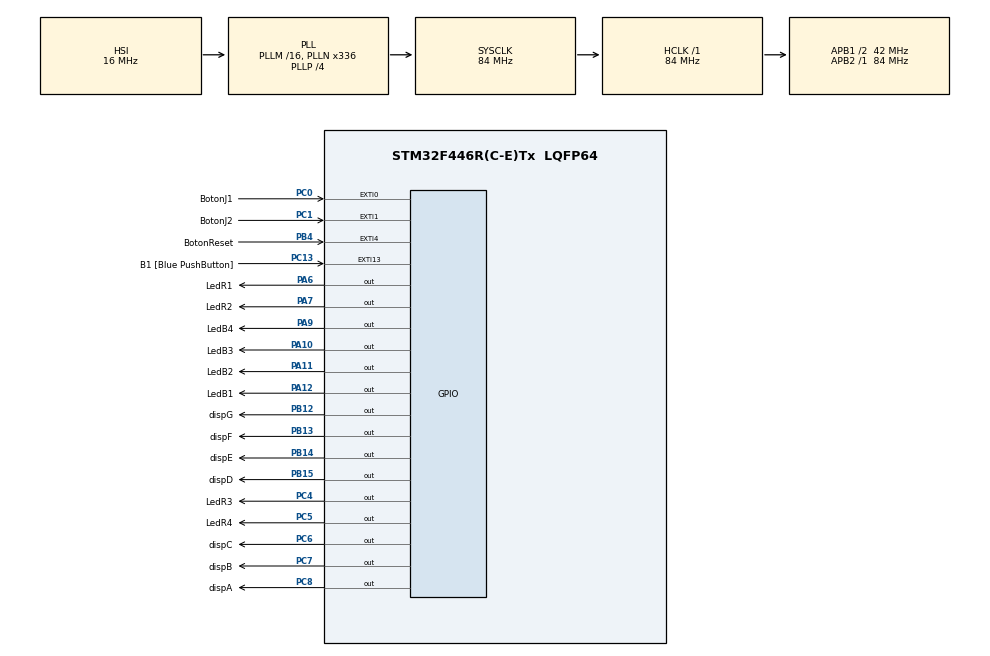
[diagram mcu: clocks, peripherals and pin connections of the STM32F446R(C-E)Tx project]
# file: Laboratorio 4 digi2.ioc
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Mcu.Family=STM32F4
Mcu.Name=STM32F446R(C-E)Tx
Mcu.Package=LQFP64
NVIC.EXTI0_IRQn=true\:0\:0\:false\:false\:true\:true\:true\:true
NVIC.EXTI1_IRQn=true\:0\:0\:false\:false\:true\:true\:true\:true
NVIC.EXTI4_IRQn=true\:0\:0\:false\:false\:true\:true\:true\:true
NVIC.PriorityGroup=NVIC_PRIORITYGROUP_0
PA10.GPIO_Label=LedB3
PA10.Signal=GPIO_Output
PA11.GPIO_Label=LedB2
PA11.Signal=GPIO_Output
PA12.GPIO_Label=LedB1
PA12.Signal=GPIO_Output
PA13.GPIO_Label=TMS
PA13.Signal=SYS_JTMS-SWDIO
PA14.GPIO_Label=TCK
PA14.Signal=SYS_JTCK-SWCLK
PA2.GPIO_Label=USART_TX
PA2.Signal=USART2_TX
PA3.GPIO_Label=USART_RX
PA3.Signal=USART2_RX
PA6.GPIO_Label=LedR1
PA6.Signal=GPIO_Output
PA7.GPIO_Label=LedR2
PA7.Signal=GPIO_Output
PA9.GPIO_Label=LedB4
PA9.Signal=GPIO_Output
PB12.GPIO_Label=dispG
PB12.Signal=GPIO_Output
PB13.GPIO_Label=dispF
PB13.Signal=GPIO_Output
PB14.GPIO_Label=dispE
PB14.Signal=GPIO_Output
PB15.GPIO_Label=dispD
PB15.Signal=GPIO_Output
PB3.GPIO_Label=SWO
PB3.Signal=SYS_JTDO-SWO
PB4.GPIO_Label=BotonReset
PB4.GPIO_ModeDefaultEXTI=GPIO_MODE_IT_FALLING
PB4.GPIO_PuPd=GPIO_PULLUP
PB4.Signal=GPXTI4
PC0.GPIO_Label=BotonJ1
PC0.GPIO_ModeDefaultEXTI=GPIO_MODE_IT_FALLING
PC0.GPIO_PuPd=GPIO_PULLUP
PC0.Signal=GPXTI0
PC1.GPIO_Label=BotonJ2
PC1.GPIO_ModeDefaultEXTI=GPIO_MODE_IT_FALLING
PC1.GPIO_PuPd=GPIO_PULLUP
PC1.Signal=GPXTI1
PC13.GPIO_Label=B1 [Blue PushButton]
PC13.GPIO_ModeDefaultEXTI=GPIO_MODE_IT_FALLING
PC13.Signal=GPXTI13
PC14-OSC32_IN.Signal=RCC_OSC32_IN
PC15-OSC32_OUT.Signal=RCC_OSC32_OUT
PC4.GPIO_Label=LedR3
PC4.Signal=GPIO_Output
PC5.GPIO_Label=LedR4
PC5.Signal=GPIO_Output
PC6.GPIO_Label=dispC
PC6.Signal=GPIO_Output
PC7.GPIO_Label=dispB
PC7.Signal=GPIO_Output
PC8.GPIO_Label=dispA
PC8.Signal=GPIO_Output
PH0-OSC_IN.Signal=RCC_OSC_IN
PH1-OSC_OUT.Signal=RCC_OSC_OUT
ProjectManager.HeapSize=0x200
ProjectManager.StackSize=0x400
ProjectManager.TargetToolchain=STM32CubeIDE
RCC.AHBFreq_Value=84000000
RCC.APB1CLKDivider=RCC_HCLK_DIV2
RCC.APB1Freq_Value=42000000
RCC.APB1TimFreq_Value=84000000
RCC.APB2Freq_Value=84000000
RCC.APB2TimFreq_Value=84000000
RCC.CortexFreq_Value=84000000
RCC.FLatency-AdvancedSettings=FLASH_LATENCY_2
RCC.HCLKFreq_Value=84000000
RCC.HSE_VALUE=8000000
RCC.HSI_VALUE=16000000
RCC.LSE_VALUE=32768
RCC.PLLN=336
RCC.PLLP=RCC_PLLP_DIV4
RCC.SYSCLKFreq_VALUE=84000000
RCC.SYSCLKSource=RCC_SYSCLKSOURCE_PLLCLK
RCC.USBFreq_Value=168000000
RCC.VCOOutputFreq_Value=336000000
board=NUCLEO-F446RE

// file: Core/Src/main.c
/* USER CODE BEGIN Header */
/**
  ******************************************************************************
  * @file           : main.c
  * @brief          : Main program body
  ******************************************************************************
  * @attention
  *
  * Copyright (c) 2026 STMicroelectronics.
  * All rights reserved.
  *
  * This software is licensed under terms that can be found in the LICENSE file
  * in the root directory of this software component.
  * If no LICENSE file comes with this software, it is provided AS-IS.
  *
  ******************************************************************************
  */
/* USER CODE END Header */
#include "main.h"

/* USER CODE BEGIN PV */
volatile uint8_t modo = 0;         // 0: Espera, 1: Juego, 3: Ganador
volatile uint8_t contadorJ1 = 0;   // 0 a 4
volatile uint8_t contadorJ2 = 0;   // 0 a 4
volatile uint8_t ganador = 0;      // 1 para Jugador 1, 2 para Jugador 2
volatile uint8_t flagReset = 0;    // Bandera para procesar el reset en el main
/* USER CODE END PV */

void SystemClock_Config(void);
static void MX_GPIO_Init(void);
/* USER CODE BEGIN PFP */
void ActualizarLeds(void);
void ResetearJuego(void);
void MostrarDisplay(uint8_t numero);
void IniciarCuentaRegresiva(void);
/* USER CODE END PFP */

int main(void)
{

  /* MCU Configuration--------------------------------------------------------*/

  /* Reset of all peripherals, Initializes the Flash interface and the Systick. */
  HAL_Init();

  /* Configure the system clock */
  SystemClock_Config();

  /* Initialize all configured peripherals */
  MX_GPIO_Init();

  /* Infinite loop */
  /* USER CODE BEGIN WHILE */
  while (1)
    {
      if (flagReset == 1)
      {
        flagReset = 0;      // Limpiar la bandera
        ResetearJuego();    // Ejecuta la cuenta regresiva con HAL_Delay libremente
        modo = 1;           // Inicia el juego tras finalizar el conteo
      }

      ActualizarLeds();
    /* USER CODE END WHILE */

  }
}

void SystemClock_Config(void)
{
  RCC_OscInitTypeDef RCC_OscInitStruct = {0};
  RCC_ClkInitTypeDef RCC_ClkInitStruct = {0};

  /** Configure the main internal regulator output voltage
  */
  __HAL_RCC_PWR_CLK_ENABLE();
  __HAL_PWR_VOLTAGESCALING_CONFIG(PWR_REGULATOR_VOLTAGE_SCALE3);

  /** Initializes the RCC Oscillators according to the specified parameters
  * in the RCC_OscInitTypeDef structure.
  */
  RCC_OscInitStruct.OscillatorType = RCC_OSCILLATORTYPE_HSI;
  RCC_OscInitStruct.HSIState = RCC_HSI_ON;
  RCC_OscInitStruct.HSICalibrationValue = RCC_HSICALIBRATION_DEFAULT;
  RCC_OscInitStruct.PLL.PLLState = RCC_PLL_ON;
  RCC_OscInitStruct.PLL.PLLSource = RCC_PLLSOURCE_HSI;
  RCC_OscInitStruct.PLL.PLLM = 16;
  RCC_OscInitStruct.PLL.PLLN = 336;
  RCC_OscInitStruct.PLL.PLLP = RCC_PLLP_DIV4;
  RCC_OscInitStruct.PLL.PLLQ = 2;
  RCC_OscInitStruct.PLL.PLLR = 2;
  if (HAL_RCC_OscConfig(&RCC_OscInitStruct) != HAL_OK)
  {
    Error_Handler();
  }

  /** Initializes the CPU, AHB and APB buses clocks
  */
  RCC_ClkInitStruct.ClockType = RCC_CLOCKTYPE_HCLK|RCC_CLOCKTYPE_SYSCLK
                              |RCC_CLOCKTYPE_PCLK1|RCC_CLOCKTYPE_PCLK2;
  RCC_ClkInitStruct.SYSCLKSource = RCC_SYSCLKSOURCE_PLLCLK;
  RCC_ClkInitStruct.AHBCLKDivider = RCC_SYSCLK_DIV1;
  RCC_ClkInitStruct.APB1CLKDivider = RCC_HCLK_DIV2;
  RCC_ClkInitStruct.APB2CLKDivider = RCC_HCLK_DIV1;

  if (HAL_RCC_ClockConfig(&RCC_ClkInitStruct, FLASH_LATENCY_2) != HAL_OK)
  {
    Error_Handler();
  }
}

static void MX_GPIO_Init(void)
{
  GPIO_InitTypeDef GPIO_InitStruct = {0};

  /* GPIO Ports Clock Enable */
  __HAL_RCC_GPIOC_CLK_ENABLE();
  __HAL_RCC_GPIOH_CLK_ENABLE();
  __HAL_RCC_GPIOA_CLK_ENABLE();
  __HAL_RCC_GPIOB_CLK_ENABLE();

  /*Configure GPIO pin Output Level */
  HAL_GPIO_WritePin(GPIOA, LedR1_Pin|LedR2_Pin|LedB4_Pin|LedB3_Pin
                          |LedB2_Pin|LedB1_Pin, GPIO_PIN_RESET);

  /*Configure GPIO pin Output Level */
  HAL_GPIO_WritePin(GPIOC, LedR3_Pin|LedR4_Pin|dispC_Pin|dispB_Pin
                          |dispA_Pin, GPIO_PIN_RESET);

  /*Configure GPIO pin Output Level */
  HAL_GPIO_WritePin(GPIOB, dispG_Pin|dispF_Pin|dispE_Pin|dispD_Pin, GPIO_PIN_RESET);

  /*Configure GPIO pin : B1_Pin */
  GPIO_InitStruct.Pin = B1_Pin;
  GPIO_InitStruct.Mode = GPIO_MODE_IT_FALLING;
  GPIO_InitStruct.Pull = GPIO_NOPULL;
  HAL_GPIO_Init(B1_GPIO_Port, &GPIO_InitStruct);

  /*Configure GPIO pins : BotonJ1_Pin BotonJ2_Pin */
  GPIO_InitStruct.Pin = BotonJ1_Pin|BotonJ2_Pin;
  GPIO_InitStruct.Mode = GPIO_MODE_IT_FALLING;
  GPIO_InitStruct.Pull = GPIO_PULLUP;
  HAL_GPIO_Init(GPIOC, &GPIO_InitStruct);

  /*Configure GPIO pins : USART_TX_Pin USART_RX_Pin */
  GPIO_InitStruct.Pin = USART_TX_Pin|USART_RX_Pin;
  GPIO_InitStruct.Mode = GPIO_MODE_AF_PP;
  GPIO_InitStruct.Pull = GPIO_NOPULL;
  GPIO_InitStruct.Speed = GPIO_SPEED_FREQ_VERY_HIGH;
  GPIO_InitStruct.Alternate = GPIO_AF7_USART2;
  HAL_GPIO_Init(GPIOA, &GPIO_InitStruct);

  /*Configure GPIO pins : LedR1_Pin LedR2_Pin LedB4_Pin LedB3_Pin
                           LedB2_Pin LedB1_Pin */
  GPIO_InitStruct.Pin = LedR1_Pin|LedR2_Pin|LedB4_Pin|LedB3_Pin
                          |LedB2_Pin|LedB1_Pin;
  GPIO_InitStruct.Mode = GPIO_MODE_OUTPUT_PP;
  GPIO_InitStruct.Pull = GPIO_NOPULL;
  GPIO_InitStruct.Speed = GPIO_SPEED_FREQ_LOW;
  HAL_GPIO_Init(GPIOA, &GPIO_InitStruct);

  /*Configure GPIO pins : LedR3_Pin LedR4_Pin dispC_Pin dispB_Pin
                           dispA_Pin */
  GPIO_InitStruct.Pin = LedR3_Pin|LedR4_Pin|dispC_Pin|dispB_Pin
                          |dispA_Pin;
  GPIO_InitStruct.Mode = GPIO_MODE_OUTPUT_PP;
  GPIO_InitStruct.Pull = GPIO_NOPULL;
  GPIO_InitStruct.Speed = GPIO_SPEED_FREQ_LOW;
  HAL_GPIO_Init(GPIOC, &GPIO_InitStruct);

  /*Configure GPIO pins : dispG_Pin dispF_Pin dispE_Pin dispD_Pin */
  GPIO_InitStruct.Pin = dispG_Pin|dispF_Pin|dispE_Pin|dispD_Pin;
  GPIO_InitStruct.Mode = GPIO_MODE_OUTPUT_PP;
  GPIO_InitStruct.Pull = GPIO_NOPULL;
  GPIO_InitStruct.Speed = GPIO_SPEED_FREQ_LOW;
  HAL_GPIO_Init(GPIOB, &GPIO_InitStruct);

  /*Configure GPIO pin : BotonReset_Pin */
  GPIO_InitStruct.Pin = BotonReset_Pin;
  GPIO_InitStruct.Mode = GPIO_MODE_IT_FALLING;
  GPIO_InitStruct.Pull = GPIO_PULLUP;
  HAL_GPIO_Init(BotonReset_GPIO_Port, &GPIO_InitStruct);

  /* EXTI interrupt init*/
  HAL_NVIC_SetPriority(EXTI0_IRQn, 0, 0);
  HAL_NVIC_EnableIRQ(EXTI0_IRQn);

  HAL_NVIC_SetPriority(EXTI1_IRQn, 0, 0);
  HAL_NVIC_EnableIRQ(EXTI1_IRQn);

  HAL_NVIC_SetPriority(EXTI4_IRQn, 0, 0);
  HAL_NVIC_EnableIRQ(EXTI4_IRQn);

}

/* USER CODE BEGIN 4 */
void HAL_GPIO_EXTI_Callback(uint16_t GPIO_Pin)
{
  // Interrupción del Botón Reset / Inicio (PB4)
  if (GPIO_Pin == BotonReset_Pin)
  {
    if (modo == 0 || modo == 3)
    {
      flagReset = 1; // Levanta la bandera para atender la secuencia en el main()
    }
  }

  // Interrupción del Botón Jugador 1 (PC0)
  else if (GPIO_Pin == BotonJ1_Pin)
  {
    if (modo == 1)
    {
      if (contadorJ1 < 4)
      {
        contadorJ1++;
        if (contadorJ1 == 4)
        {
          ganador = 1; // Gana Jugador 1
          modo = 3;    // Bloquea botones
        }
      }
    }
  }

  // Interrupción del Botón Jugador 2 (PC1)
  else if (GPIO_Pin == BotonJ2_Pin)
  {
    if (modo == 1)
    {
      if (contadorJ2 < 4)
      {
        contadorJ2++;
        if (contadorJ2 == 4)
        {
          ganador = 2; // Gana Jugador 2
          modo = 3;    // Bloquea botones
        }
      }
    }
  }
}

void ResetearJuego(void)
{
  modo = 0;          // Mantiene botones bloqueados durante el conteo
  contadorJ1 = 0;
  contadorJ2 = 0;
  ganador = 0;
  ActualizarLeds();  // Asegura LEDs apagados

  IniciarCuentaRegresiva(); // Conteo 5 a 0 con HAL_Delay() funcional
}

void IniciarCuentaRegresiva(void)
{
  for (int i = 5; i > 0; i--)
  {
    MostrarDisplay(i);
    HAL_Delay(1000); // Ya no se congela porque estamos fuera de la ISR
  }
  MostrarDisplay(99);  // Apaga el display al terminar
}

void ActualizarLeds(void)
{
  // Si está en modo 0 (conteo o espera), los LEDs deben permanecer apagados
  if (modo == 0)
  {
    HAL_GPIO_WritePin(GPIOA, LedR1_Pin|LedR2_Pin|LedB1_Pin|LedB2_Pin|LedB3_Pin|LedB4_Pin, GPIO_PIN_RESET);
    HAL_GPIO_WritePin(GPIOC, LedR3_Pin|LedR4_Pin, GPIO_PIN_RESET);
    return;
  }

  // --- Mapeo de LEDs para Jugador 1 (PA6, PA7, PC4, PC5) ---
  HAL_GPIO_WritePin(GPIOA, LedR1_Pin, (contadorJ1 >= 1) ? GPIO_PIN_SET : GPIO_PIN_RESET);
  HAL_GPIO_WritePin(GPIOA, LedR2_Pin, (contadorJ1 >= 2) ? GPIO_PIN_SET : GPIO_PIN_RESET);
  HAL_GPIO_WritePin(GPIOC, LedR3_Pin, (contadorJ1 >= 3) ? GPIO_PIN_SET : GPIO_PIN_RESET);
  HAL_GPIO_WritePin(GPIOC, LedR4_Pin, (contadorJ1 >= 4) ? GPIO_PIN_SET : GPIO_PIN_RESET);

  // --- Mapeo de LEDs para Jugador 2 (PA12, PA11, PA10, PA9) ---
  HAL_GPIO_WritePin(GPIOA, LedB1_Pin, (contadorJ2 >= 1) ? GPIO_PIN_SET : GPIO_PIN_RESET);
  HAL_GPIO_WritePin(GPIOA, LedB2_Pin, (contadorJ2 >= 2) ? GPIO_PIN_SET : GPIO_PIN_RESET);
  HAL_GPIO_WritePin(GPIOA, LedB3_Pin, (contadorJ2 >= 3) ? GPIO_PIN_SET : GPIO_PIN_RESET);
  HAL_GPIO_WritePin(GPIOA, LedB4_Pin, (contadorJ2 >= 4) ? GPIO_PIN_SET : GPIO_PIN_RESET);

  // --- Control del Display de 7 Segmentos en Modo Ganador ---
  if (modo == 3)
  {
    MostrarDisplay(ganador); // Muestra 1 o 2
  }
}

void MostrarDisplay(uint8_t numero)
{
  // Mapeo de Pines del Display (Ánodo Común):
  // dispA (PC8), dispB (PC7), dispC (PC6), dispD (PB15), dispE (PB14), dispF (PB13), dispG (PB12)

  switch (numero)
  {
    case 0: // Muestra "0" (A, B, C, D, E, F)
      HAL_GPIO_WritePin(GPIOC, dispA_Pin|dispB_Pin|dispC_Pin, GPIO_PIN_SET);
      HAL_GPIO_WritePin(GPIOB, dispD_Pin|dispE_Pin|dispF_Pin, GPIO_PIN_SET);
      HAL_GPIO_WritePin(GPIOB, dispG_Pin, GPIO_PIN_RESET);
      break;

    case 1: // Muestra "1" (B, C)
      HAL_GPIO_WritePin(GPIOC, dispA_Pin, GPIO_PIN_RESET);
      HAL_GPIO_WritePin(GPIOC, dispB_Pin|dispC_Pin, GPIO_PIN_SET);
      HAL_GPIO_WritePin(GPIOB, dispD_Pin|dispE_Pin|dispF_Pin|dispG_Pin, GPIO_PIN_RESET);
      break;

    case 2: // Muestra "2" (A, B, D, E, G)
      HAL_GPIO_WritePin(GPIOC, dispA_Pin|dispB_Pin, GPIO_PIN_SET);
      HAL_GPIO_WritePin(GPIOC, dispC_Pin, GPIO_PIN_RESET);
      HAL_GPIO_WritePin(GPIOB, dispD_Pin|dispE_Pin|dispG_Pin, GPIO_PIN_SET);
      HAL_GPIO_WritePin(GPIOB, dispF_Pin, GPIO_PIN_RESET);
      break;

    case 3: // Muestra "3" (A, B, C, D, G)
      HAL_GPIO_WritePin(GPIOC, dispA_Pin|dispB_Pin|dispC_Pin, GPIO_PIN_SET);
      HAL_GPIO_WritePin(GPIOB, dispD_Pin|dispG_Pin, GPIO_PIN_SET);
      HAL_GPIO_WritePin(GPIOB, dispE_Pin|dispF_Pin, GPIO_PIN_RESET);
      break;

    case 4: // Muestra "4" (B, C, F, G)
      HAL_GPIO_WritePin(GPIOC, dispA_Pin, GPIO_PIN_RESET);
      HAL_GPIO_WritePin(GPIOC, dispB_Pin|dispC_Pin, GPIO_PIN_SET);
      HAL_GPIO_WritePin(GPIOB, dispD_Pin|dispE_Pin, GPIO_PIN_RESET);
      HAL_GPIO_WritePin(GPIOB, dispF_Pin|dispG_Pin, GPIO_PIN_SET);
      break;

    case 5: // Muestra "5" (A, C, D, F, G)
      HAL_GPIO_WritePin(GPIOC, dispA_Pin|dispC_Pin, GPIO_PIN_SET);
      HAL_GPIO_WritePin(GPIOC, dispB_Pin, GPIO_PIN_RESET);
      HAL_GPIO_WritePin(GPIOB, dispD_Pin|dispF_Pin|dispG_Pin, GPIO_PIN_SET);
      HAL_GPIO_WritePin(GPIOB, dispE_Pin, GPIO_PIN_RESET);
      break;

    default: // Apagado total
      HAL_GPIO_WritePin(GPIOC, dispA_Pin|dispB_Pin|dispC_Pin, GPIO_PIN_RESET);
      HAL_GPIO_WritePin(GPIOB, dispD_Pin|dispE_Pin|dispF_Pin|dispG_Pin, GPIO_PIN_RESET);
      break;
  }
}
/* USER CODE END 4 */

void Error_Handler(void)
{
  __disable_irq();
  while (1)
  {
  }
}
